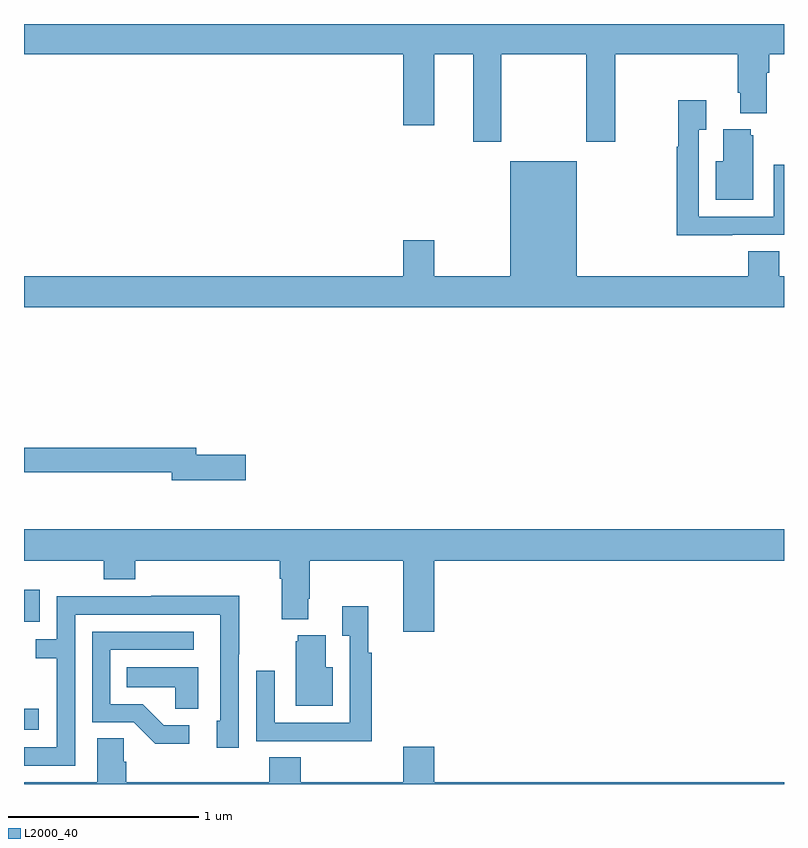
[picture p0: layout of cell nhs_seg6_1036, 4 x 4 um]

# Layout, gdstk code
import gdstk
lib = gdstk.Library(unit=1e-6, precision=1e-09)
def R(c, l, rs):  # rectangles x0, y0, x1, y1
    for r in rs: c.add(gdstk.rectangle(r[:2], r[2:], *l))
def P(c, l, *ps):  # polygons
    for p in ps: c.add(gdstk.Polygon(p, *l))
L2000_40 = (2000, 40)

nhs_seg6_1036 = lib.new_cell('nhs_seg6_1036')
R(nhs_seg6_1036, L2000_40, [(175,939.785,175.078,939.895), (175,940.353,175.083,940.522)])
P(nhs_seg6_1036, L2000_40, [(177.513,943.34),(177.958,943.34),(177.958,942.879),(178.113,942.879),(178.113,943.34),(178.757,943.34),(178.757,943.138),(178.769,943.138),(178.769,943.031),(178.909,943.031),(178.909,943.244),(178.922,943.244),(178.922,943.34),(179,943.34),(179,943.5),(175,943.5),(175,943.34),(176.996,943.34),(176.996,942.966),(177.16,942.966),(177.16,943.34),(177.365,943.34),(177.365,942.879),(177.513,942.879)],
  [(178.727,942.39),(179,942.39),(179,942.76),(178.947,942.76),(178.947,942.486),(178.551,942.486),(178.551,942.943),(178.591,942.943),(178.591,943.099),(178.443,943.099),(178.443,942.854),(178.435,942.854),(178.435,942.389),(178.727,942.389)],
  [(178.837,942.915),(178.826,942.915),(178.826,942.946),(178.679,942.946),(178.679,942.778),(178.64,942.778),(178.64,942.575),(178.837,942.575)],
  [(179,942.172),(178.976,942.172),(178.976,942.305),(178.811,942.305),(178.811,942.172),(177.91,942.172),(177.91,942.778),(177.56,942.778),(177.56,942.172),(177.16,942.172),(177.16,942.361),(176.996,942.361),(176.996,942.172),(175,942.172),(175,942.008),(179,942.008)],
  [(176.167,941.234),(175.906,941.234),(175.906,941.27),(175,941.27),(175,941.142),(175.778,941.142),(175.778,941.099),(176.167,941.099)],
  [(177.16,940.676),(179,940.676),(179,940.84),(175,940.84),(175,940.676),(175.421,940.676),(175.421,940.577),(175.586,940.577),(175.586,940.676),(176.345,940.676),(176.345,940.58),(176.357,940.58),(176.357,940.367),(176.497,940.367),(176.497,940.474),(176.505,940.474),(176.505,940.676),(176.996,940.676),(176.996,940.302),(177.16,940.302)],
  [(175.269,940.392),(176.034,940.392),(176.034,939.834),(176.015,939.834),(176.015,939.69),(176.13,939.69),(176.13,940.183),(176.133,940.183),(176.133,940.49),(175.669,940.49),(175.669,940.488),(175.173,940.488),(175.173,940.263),(175.063,940.263),(175.063,940.162),(175.173,940.162),(175.173,939.693),(175,939.693),(175,939.597),(175.269,939.597)],
  [(176.831,940.19),(176.813,940.19),(176.813,940.435),(176.675,940.435),(176.675,940.279),(176.715,940.279),(176.715,939.822),(176.319,939.822),(176.319,940.096),(176.223,940.096),(176.223,939.726),(176.539,939.726),(176.539,939.725),(176.831,939.725)],
  [(175.87,939.81),(175.735,939.81),(175.624,939.921),(175.455,939.921),(175.455,940.206),(175.894,940.206),(175.894,940.302),(175.359,940.302),(175.359,939.825),(175.578,939.825),(175.691,939.713),(175.87,939.713)],
  [(176.626,940.114),(176.587,940.114),(176.587,940.282),(176.441,940.282),(176.441,940.251),(176.429,940.251),(176.429,939.911),(176.626,939.911)],
  [(175.918,940.114),(175.54,940.114),(175.54,940.01),(175.797,940.01),(175.797,939.895),(175.918,939.895)],
  [(179,939.508),(177.16,939.508),(177.16,939.697),(176.996,939.697),(176.996,939.508),(176.456,939.508),(176.456,939.641),(176.291,939.641),(176.291,939.508),(175.538,939.508),(175.538,939.617),(175.524,939.617),(175.524,939.74),(175.385,939.74),(175.385,939.508),(175,939.508),(175,939.5),(179,939.5)])

lib.write_gds('nhs_seg6_1036.gds')
